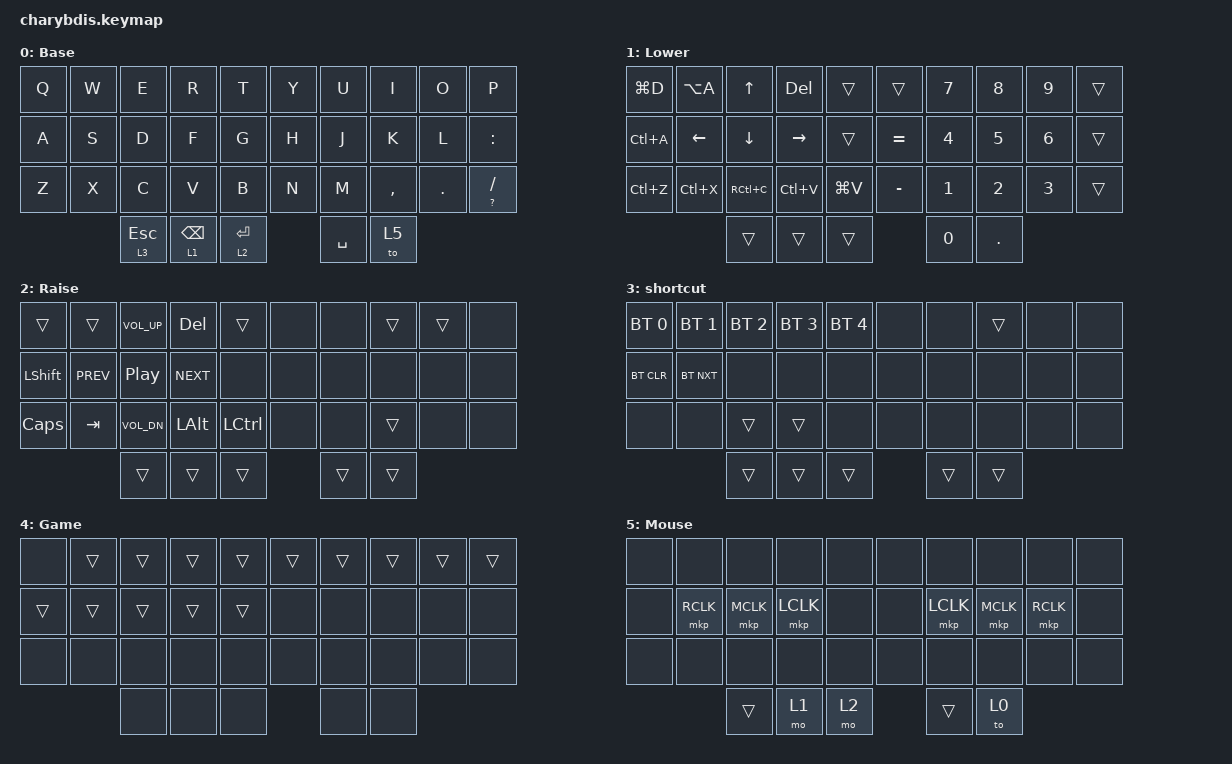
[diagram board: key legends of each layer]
#include <dt-bindings/zmk/mouse.h>
#include <behaviors.dtsi>
#include <dt-bindings/zmk/bt.h>
#include <dt-bindings/zmk/keys.h>

&lt {
    tapping-term-ms = <240>;
    flavor = "balanced";
    quick-tap-ms = <150>;
};

&mt {
    global-quick-tap;
    flavor = "tap-preferred";
    tapping-term-ms = <200>;
};

&sk {
    release-after-ms = <2000>;
    quick-release;
};

/ {
    combos {
        compatible = "zmk,combos";

        combo_esc {
            timeout-ms = <50>;
            key-positions = <0 1>;
            bindings = <&kp ESC>;
        };

        left_bkt {
            bindings = <&kp LEFT_BRACKET>;
            key-positions = <4 5>;
            timeout-ms = <50>;
        };

        right_bkt {
            bindings = <&kp RIGHT_BRACKET>;
            key-positions = <6 7>;
            timeout-ms = <50>;
        };

        left_par {
            bindings = <&kp LEFT_PARENTHESIS>;
            key-positions = <16 17>;
            timeout-ms = <50>;
        };

        right_par {
            bindings = <&kp RIGHT_PARENTHESIS>;
            key-positions = <18 19>;
            timeout-ms = <50>;
        };

        left_brace {
            bindings = <&kp LEFT_BRACE>;
            key-positions = <28 29 28 29 28 29 28 29>;
            timeout-ms = <50>;
        };

        right_brace {
            bindings = <&kp RIGHT_BRACE>;
            key-positions = <30 31>;
            timeout-ms = <50>;
        };

        bac {
            bindings = <&kp BACKSLASH>;
            key-positions = <5 6>;
            timeout-ms = <50>;
        };

        pipe {
            bindings = <&kp PIPE>;
            key-positions = <17 18>;
            timeout-ms = <50>;
        };
    };

    behaviors {
        hm: homerow_mods {
            compatible = "zmk,behavior-hold-tap";
            label = "HOMEROW_MODS";
            bindings = <&kp>, <&kp>;

            #binding-cells = <2>;
            tapping-term-ms = <200>;
            quick-tap-ms = <180>;
            flavor = "tap-preferred";
        };

        ltq: ltq {
            compatible = "zmk,behavior-hold-tap";
            label = "LTQ";
            bindings = <&mo>, <&kp>;

            #binding-cells = <2>;
            tapping-term-ms = <200>;
            quick-tap-ms = <180>;
        };

        as: auto_shift {
            compatible = "zmk,behavior-hold-tap";
            label = "AUTO_SHIFT";
            bindings = <&kp>, <&kp>;

            #binding-cells = <2>;
            tapping-term-ms = <135>;
            quick-tap-ms = <0>;
        };
    };

    keymap {
        compatible = "zmk,keymap";

        Base {
            label = "Base";
            bindings = <
&kp Q  &kp W  &kp E         &kp R        &kp T       &kp Y  &kp U      &kp I      &kp O    &kp P
&kp A  &kp S  &kp D         &kp F        &kp G       &kp H  &kp J      &kp K      &kp L    &kp COLON
&kp Z  &kp X  &kp C         &kp V        &kp B       &kp N  &kp M      &kp COMMA  &kp DOT  &as QUESTION SLASH
                  &ltq 3 ESC &ltq 1 BSPC &ltq 2 ENTER       &kp SPACE &to 5
            >;
        };

        Lower {
            label = "Lower";
            bindings = <
&kp LG(D)   &kp LA(A)  &kp UP    &kp DELETE    &trans     &trans     &kp N7  &kp N8   &kp N9  &trans
&kp LC(A)  &kp LEFT   &kp DOWN   &kp RIGHT  &trans     &kp EQUAL  &kp N4  &kp N5   &kp N6  &trans
&kp LC(Z)  &kp LC(X)  &kp RC(C)  &kp LC(V)  &kp LG(V)  &kp MINUS  &kp N1  &kp N2   &kp N3  &trans
                      &trans     &trans     &trans                &kp N0  &kp PERIOD
            >;
        };

        Raise {
            label = "Raise";
            bindings = <
&trans  &trans      &kp C_VOL_UP  &kp DELETE  &trans      &none  &none   &trans  &trans  &none
&kp LSHFT   &kp C_PREV  &kp C_PP      &kp C_NEXT  &none       &none  &none   &none   &none  &none
&kp CAPS  &kp TAB   &kp C_VOL_DN  &kp LEFT_ALT  &kp LCTRL  &none   &none  &trans   &none   &none  
                    &trans        &trans      &trans         &trans  &trans
            >;
        };

        Shortcut {
            label = "shortcut";
            bindings = <
&bt BT_SEL 0  &bt BT_SEL 1  &bt BT_SEL 2  &bt BT_SEL 3  &bt BT_SEL 4  &none  &none   &trans  &none  &none
&bt BT_CLR    &bt BT_NXT    &none         &none         &none         &none  &none   &none   &none  &none
&none         &none         &trans        &trans        &none         &none  &none   &none   &none  &none
                            &trans        &trans        &trans               &trans  &trans
            >;
        };

        Game {
            label = "Game";
            bindings = <
&none   &trans  &trans  &trans  &trans  &trans  &trans  &trans  &trans  &trans
&trans  &trans  &trans  &trans  &trans  &none   &none   &none   &none   &none
&none   &none   &none   &none   &none   &none   &none   &none   &none   &none
                &none   &none   &none           &none   &none
            >;
        };

        Mouse {
            bindings = <
&none  &none  &none  &none  &none  &none  &none     &none    &none    &none
&none  &mkp RCLK  &mkp MCLK  &mkp LCLK  &none  &none  &mkp LCLK  &mkp MCLK  &mkp RCLK  &none
&none  &none  &none  &none  &none  &none  &none     &none     &none     &none
                &trans  &mo 1   &mo 2          &trans     &to 0
            >;
        };
    };
};
